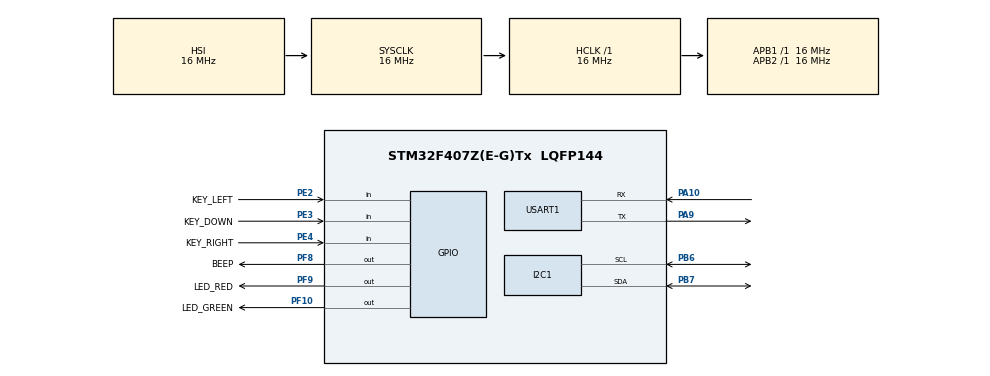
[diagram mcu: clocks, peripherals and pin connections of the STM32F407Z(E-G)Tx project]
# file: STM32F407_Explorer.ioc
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I2C1.DualAddressMode=I2C_DUALADDRESS_DISABLE
I2C1.OwnAddress=0x10
Mcu.Family=STM32F4
Mcu.Name=STM32F407Z(E-G)Tx
Mcu.Package=LQFP144
NVIC.PriorityGroup=NVIC_PRIORITYGROUP_4
NVIC.USART1_IRQn=true\:0\:0\:false\:false\:true\:true\:true
PA10.Mode=Asynchronous
PA10.Signal=USART1_RX
PA13.Mode=Trace_Asynchronous_SW
PA13.Signal=SYS_JTMS-SWDIO
PA14.Mode=Trace_Asynchronous_SW
PA14.Signal=SYS_JTCK-SWCLK
PA9.Mode=Asynchronous
PA9.Signal=USART1_TX
PB3.Mode=Trace_Asynchronous_SW
PB3.Signal=SYS_JTDO-SWO
PB6.Mode=I2C
PB6.Signal=I2C1_SCL
PB7.Mode=I2C
PB7.Signal=I2C1_SDA
PE2.GPIO_Label=KEY_LEFT
PE2.GPIO_PuPd=GPIO_PULLUP
PE2.Signal=GPIO_Input
PE3.GPIO_Label=KEY_DOWN
PE3.GPIO_PuPd=GPIO_PULLUP
PE3.Signal=GPIO_Input
PE4.GPIO_Label=KEY_RIGHT
PE4.GPIO_PuPd=GPIO_PULLUP
PE4.Signal=GPIO_Input
PF10.GPIO_Label=LED_GREEN
PF10.GPIO_ModeDefaultOutputPP=GPIO_MODE_OUTPUT_PP
PF10.GPIO_PuPd=GPIO_NOPULL
PF10.GPIO_Speed=GPIO_SPEED_FREQ_LOW
PF10.PinState=GPIO_PIN_RESET
PF10.Signal=GPIO_Output
PF8.GPIO_Label=BEEP
PF8.GPIO_ModeDefaultOutputPP=GPIO_MODE_OUTPUT_PP
PF8.GPIO_PuPd=GPIO_NOPULL
PF8.GPIO_Speed=GPIO_SPEED_FREQ_LOW
PF8.PinState=GPIO_PIN_RESET
PF8.Signal=GPIO_Output
PF9.GPIO_Label=LED_RED
PF9.GPIO_ModeDefaultOutputPP=GPIO_MODE_OUTPUT_PP
PF9.GPIO_PuPd=GPIO_NOPULL
PF9.GPIO_Speed=GPIO_SPEED_FREQ_LOW
PF9.PinState=GPIO_PIN_RESET
PF9.Signal=GPIO_Output
ProjectManager.HeapSize=0x200
ProjectManager.StackSize=0x400
ProjectManager.TargetToolchain=STM32CubeIDE
RCC.AHBFreq_Value=16000000
RCC.APB1Freq_Value=16000000
RCC.APB2Freq_Value=16000000
RCC.CortexFreq_Value=16000000
RCC.HSE_VALUE=25000000
RCC.HSI_VALUE=16000000
RCC.LSE_VALUE=32768
RCC.SYSCLKFreq_VALUE=16000000
RCC.VCOOutputFreq_Value=192000000
USART1.VirtualMode=VM_ASYNC
board=custom

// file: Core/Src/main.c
/* USER CODE BEGIN Header */
/**
  ******************************************************************************
  * @file           : main.c
  * @brief          : Main program body
  ******************************************************************************
  * @attention
  *
  * <h2><center>&copy; Copyright (c) 2020 STMicroelectronics.
  * All rights reserved.</center></h2>
  *
  * This software component is licensed by ST under BSD 3-Clause license,
  * the "License"; You may not use this file except in compliance with the
  * License. You may obtain a copy of the License at:
  *                        opensource.org/licenses/BSD-3-Clause
  *
  ******************************************************************************
  */
/* USER CODE END Header */

#include "main.h"
#include "i2c.h"
#include "usart.h"
#include "gpio.h"

/* USER CODE BEGIN Includes */
#include "stdio.h"
#include <string.h>
#include "shell_port.h"
#include "multi_button_port.h"

/* USER CODE END Includes */

void SystemClock_Config(void);

int main(void)
{
  /* USER CODE BEGIN 1 */
    // IPMI CMD Get Device ID

  /* USER CODE END 1 */

  /* MCU Configuration--------------------------------------------------------*/

  /* Reset of all peripherals, Initializes the Flash interface and the Systick. */
  HAL_Init();

  /* Configure the system clock */
  SystemClock_Config();

  /* Initialize all configured peripherals */
  MX_GPIO_Init();
  MX_I2C1_Init();
  MX_USART1_UART_Init();
  /* USER CODE BEGIN 2 */
  HAL_UART_Receive_IT(&huart1, &uart1_rxdata, 1);
  userShellInit();

  user_button_init();
  /* USER CODE END 2 */

  /* Infinite loop */
  while (1)
  {

  }
}

void SystemClock_Config(void)
{
  RCC_OscInitTypeDef RCC_OscInitStruct = {0};
  RCC_ClkInitTypeDef RCC_ClkInitStruct = {0};

  /** Configure the main internal regulator output voltage
  */
  __HAL_RCC_PWR_CLK_ENABLE();
  __HAL_PWR_VOLTAGESCALING_CONFIG(PWR_REGULATOR_VOLTAGE_SCALE1);
  /** Initializes the CPU, AHB and APB busses clocks
  */
  RCC_OscInitStruct.OscillatorType = RCC_OSCILLATORTYPE_HSI;
  RCC_OscInitStruct.HSIState = RCC_HSI_ON;
  RCC_OscInitStruct.HSICalibrationValue = RCC_HSICALIBRATION_DEFAULT;
  RCC_OscInitStruct.PLL.PLLState = RCC_PLL_NONE;
  if (HAL_RCC_OscConfig(&RCC_OscInitStruct) != HAL_OK)
  {
    Error_Handler();
  }
  /** Initializes the CPU, AHB and APB busses clocks
  */
  RCC_ClkInitStruct.ClockType = RCC_CLOCKTYPE_HCLK|RCC_CLOCKTYPE_SYSCLK
                              |RCC_CLOCKTYPE_PCLK1|RCC_CLOCKTYPE_PCLK2;
  RCC_ClkInitStruct.SYSCLKSource = RCC_SYSCLKSOURCE_HSI;
  RCC_ClkInitStruct.AHBCLKDivider = RCC_SYSCLK_DIV1;
  RCC_ClkInitStruct.APB1CLKDivider = RCC_HCLK_DIV1;
  RCC_ClkInitStruct.APB2CLKDivider = RCC_HCLK_DIV1;

  if (HAL_RCC_ClockConfig(&RCC_ClkInitStruct, FLASH_LATENCY_0) != HAL_OK)
  {
    Error_Handler();
  }
}

/* USER CODE BEGIN 4 */
// Retargets the C library printf function to the USART.
#ifdef __GNUC__
#define PUTCHAR_PROTOTYPE int __io_putchar(int ch)
#else
#define PUTCHAR_PROTOTYPE int fputc(int ch, FILE *f)
#endif

PUTCHAR_PROTOTYPE
{
    HAL_UART_Transmit(&huart1, (uint8_t*)&ch, 1, HAL_MAX_DELAY);
    return ch;
}

// execute as soon as possiable, don't use for, while
void HAL_SYSTICK_Callback(void)
{
    // LED
    static uint32_t led_red_count = 0;
    static uint32_t led_red_cycle = 1000;

    if (led_red_count++ > led_red_cycle)
    {
        led_red_count = 0;
        HAL_GPIO_TogglePin(LED_RED_GPIO_Port, LED_RED_Pin);
    }

    // key scan
    static uint32_t key_scan_count = 0;
    static uint32_t key_scan_cycle = 5;     // 5ms, according to readme

    if (key_scan_count++ > key_scan_cycle)
    {
        key_scan_count = 0;
        button_ticks();
    }
}

void HAL_GPIO_EXTI_Callback(uint16_t GPIO_Pin)
{
#if 0

    switch (GPIO_Pin)
    {
    case KEY_LEFT_Pin:
        key_right_flag = 1;
        HAL_GPIO_TogglePin(LED_GREEN_GPIO_Port, LED_GREEN_Pin);
        break;
    case KEY_DOWN_Pin:
        key_down_flag = 1;
        HAL_GPIO_TogglePin(LED_GREEN_GPIO_Port, LED_GREEN_Pin);
        break;
    case KEY_RIGHT_Pin:
        key_right_flag = 1;
        HAL_GPIO_TogglePin(LED_GREEN_GPIO_Port, LED_GREEN_Pin);
        break;
    default:
        break;
    }
#endif
}

#define BYTES_PER_LINE 16
#define isprint(x) (((x) >= 32) && ((x) < 127))

void print_buff(const uint8_t *title, const uint8_t *buff, uint32_t len)
{
    uint32_t i = 0;
    uint32_t index = 0; // reduce calc
    uint8_t num_space = 0;
    uint8_t ascii_char_buff[BYTES_PER_LINE + 1];

    ascii_char_buff[BYTES_PER_LINE] = '\0';

    printf("\n%s, buff len is %lu.\n", title, len);

#if 1
    // -----------------------------------------------------------------------------
    // print header
    // -----------------------------------------------------------------------------
    printf("00 01 02 03 04 05 06 07 08 09 0A 0B 0C 0D 0E 0F   0123456789ABCDEF\n");
    printf("------------------------------------------------------------------\n");

#if 0
        // hex: 00 01 02 03 04 05 06 07 08 09 0A 0B 0C 0D 0E 0F
        for (i = 0; i < BYTES_PER_LINE; ++i)
        {
            printf("%02X ", i);
        }

        printf("  ");

        // ascii: 0123456789ABCDEF
        for (i = 0; i < BYTES_PER_LINE; ++i)
        {
            printf("%X", i);
        }

        printf("\n");
        // ------
        num_space = BYTES_PER_LINE * 3 + 2 + BYTES_PER_LINE;

        for (i = 0; i < num_space; ++i)
        {
            printf("-");
        }

        printf("\n");
#endif
#endif

    // -----------------------------------------------------------------------------
    // print content
    // -----------------------------------------------------------------------------
    for (i = 0; i < len; ++i)
    {
        index = i % BYTES_PER_LINE;

        if ((index == 0) && (i != 0))
        {
            printf("  %s\n", ascii_char_buff);
            // ascii_char_buff[0] = '\0';        // clear string, no need indeed
        }

        // 2018-09-30
        // testbed error: type mismatch in ternary expression ???
        // ascii_char_buff[index] = isprint(buff[i]) ? buff[i] : '.';

        // '.' = ASCII 0x2E, 46
        if (isprint(buff[i]))
        {
            ascii_char_buff[index] = buff[i];
        }
        else
        {
            ascii_char_buff[index] = '.';
        }

        printf("%02X ", buff[i]);
    }

    // print last line
    // num of bytes in last line, 0 : index-1
    index = len % BYTES_PER_LINE;

    // last line incomplete, fill with spaces
    if (index != 0)
    {
        ascii_char_buff[index] = '\0'; // last + 1 byte
        // think about it...
        num_space = (BYTES_PER_LINE - index) * 3;

        for (i = 0; i < num_space; ++i)
        {
            printf(" ");
        }
    }

    printf("  %s\n", ascii_char_buff);
}

/* USER CODE END 4 */

void Error_Handler(void)
{
}

/************************ (C) COPYRIGHT STMicroelectronics *****END OF FILE****/
